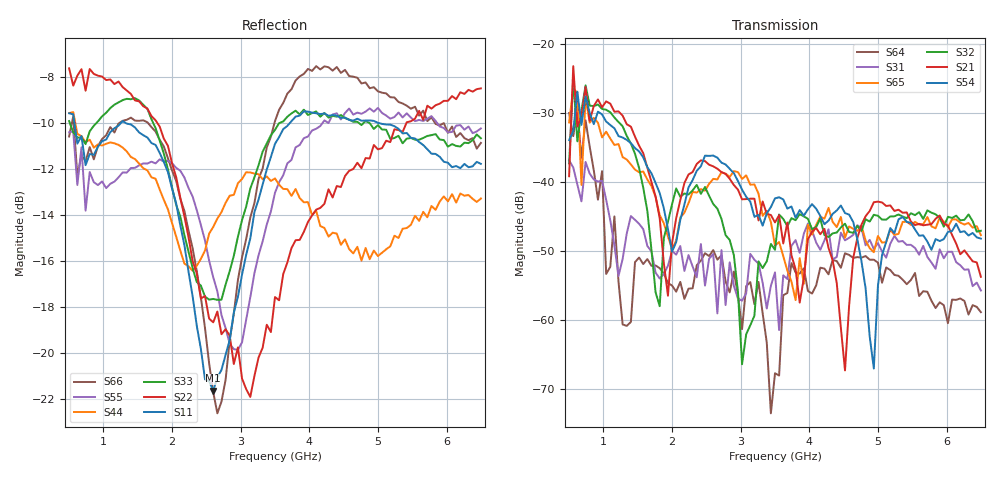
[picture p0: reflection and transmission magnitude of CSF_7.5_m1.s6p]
!Keysight Technologies,M9804A,MY58100912,A.14.10.03
!Date: Thursday, April 27, 2023 10:28:33
!Correction: S11(C  6-Port  )
!S12(C  6-Port  )
!S13(C  6-Port  )
!S14(C  6-Port  )
!S15(C  6-Port  )
!S16(C  6-Port  )
!S21(C  6-Port  )
!S22(C  6-Port  )
!S23(C  6-Port  )
!S24(C  6-Port  )
!S25(C  6-Port  )
!S26(C  6-Port  )
!S31(C  6-Port  )
!S32(C  6-Port  )
!S33(C  6-Port  )
!S34(C  6-Port  )
!S35(C  6-Port  )
!S36(C  6-Port  )
!S41(C  6-Port  )
!S42(C  6-Port  )
!S43(C  6-Port  )
!S44(C  6-Port  )
!S45(C  6-Port  )
!S46(C  6-Port  )
!S51(C  6-Port  )
!S52(C  6-Port  )
!S53(C  6-Port  )
!S54(C  6-Port  )
!S55(C  6-Port  )
!S56(C  6-Port  )
!S61(C  6-Port  )
!S62(C  6-Port  )
!S63(C  6-Port  )
!S64(C  6-Port  )
!S65(C  6-Port  )
!S66(C  6-Port  )
!S6P File: Measurement: :
# Hz S  RI  R 50
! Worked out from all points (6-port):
!   101 points, 500 MHz to 6.5 GHz, reference 50 ohm
!   strongest paths, dB at 500 MHz, 2 GHz, 3.5 GHz, 5 GHz, 6.5 GHz:
!     S54: -33.9, -50.1, -42.3, -55.0, -48.2
!     S21: -39.1, -48.8, -45.8, -42.8, -53.7
!     S32: -37.3, -43.2, -49.8, -44.9, -47.0
!     S65: -31.3, -49.6, -49.2, -47.8, -47.7
!     S31: -36.9, -49.9, -53.1, -48.8, -55.7
!     S64: -30.0, -55.0, -67.7, -51.6, -58.8
!   lowest |S11| = -21.6 dB at 2.6 GHz (marker M1), VSWR 1.18, Z = 42.6 + j2.1 ohm
!   |S11| at or under -10 dB: 577.8 MHz to 1.254 GHz (676.1 MHz wide, 73.8 % of centre); 1.327 GHz to 3.716 GHz (2.389 GHz wide, 94.8 % of centre); 5.013 GHz to end of sweep
